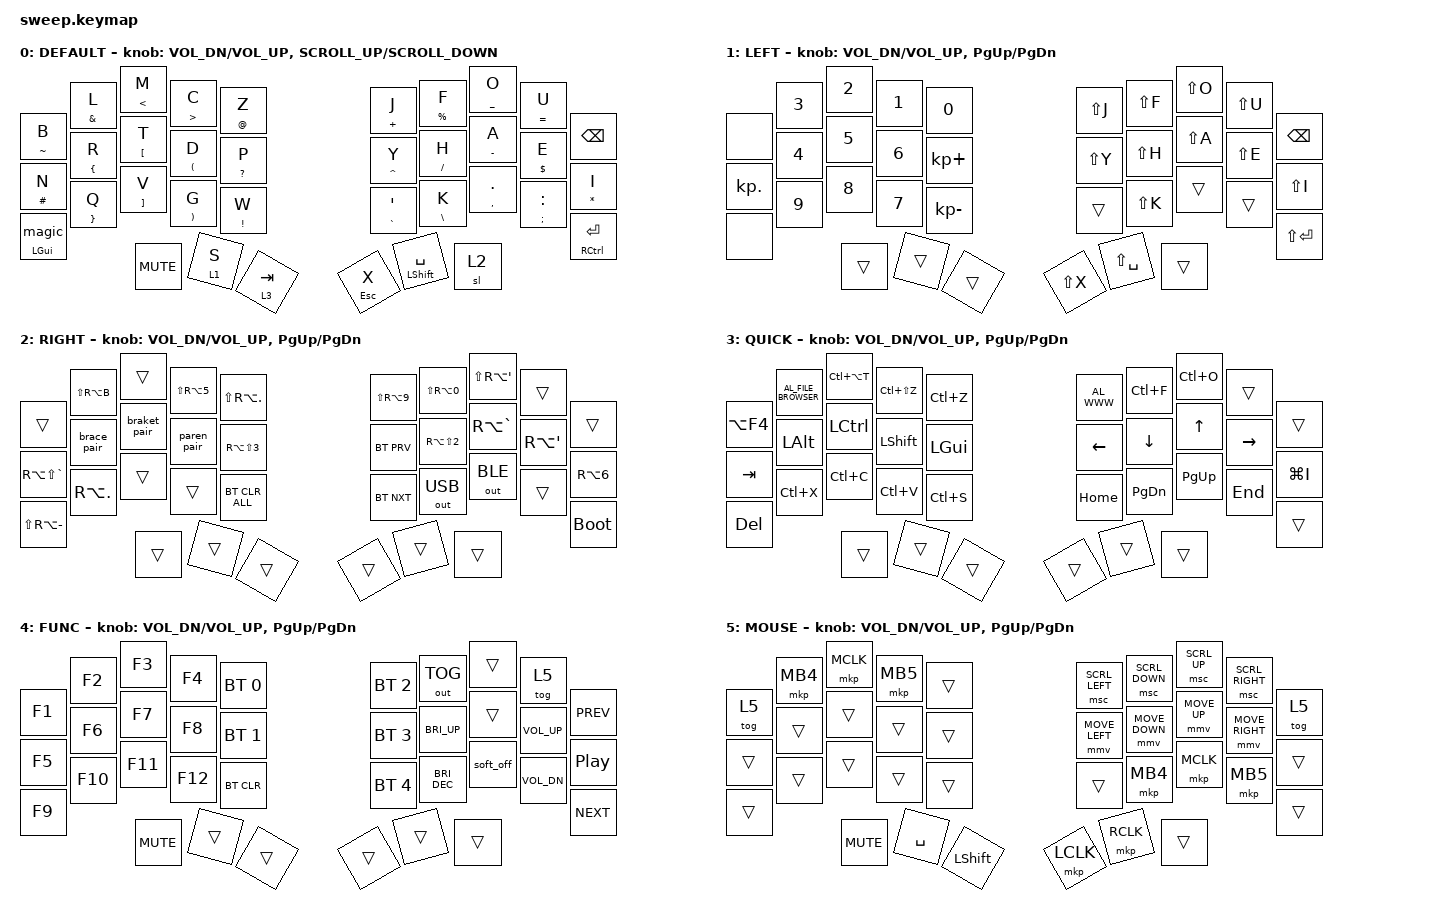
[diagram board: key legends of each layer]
// Copyright (c) 2022 The ZMK Contributors
// SPDX-License-Identifier: MIT
// #include <dt-bindings/zmk/rgb.h>

#define ZMK_POINTING_DEFAULT_MOVE_VAL 2500// 600
#define ZMK_POINTING_DEFAULT_SCRL_VAL 20// 10

#include <behaviors.dtsi>
#include <dt-bindings/zmk/bt.h>
#include <dt-bindings/zmk/keys.h>
#include <dt-bindings/zmk/outputs.h>
#include <dt-bindings/zmk/pointing.h>
#include "behaviors/character_map.dtsi"
#include "behaviors/report.dtsi"

&sensors { triggers-per-rotation = <15>; };

&lt {
    tapping-term-ms = <180>;
    quick-tap-ms = <150>;
    require-prior-idle-ms = <100>;
};

/ {
    behaviors {
        ht: hold_tap {
            label = "hold_tap";
            compatible = "zmk,behavior-hold-tap";
            #binding-cells = <2>;
            flavor = "tap-preferred";
            tapping-term-ms = <200>;
            quick-tap-ms = <150>;
            global-quick-tap;
            bindings = <&kp>, <&kp>;

            require-prior-idle-ms = <120>;
        };

        dot_comma: dot_comma {
            compatible = "zmk,behavior-mod-morph";
            label = "DOT_COMMA";
            bindings = <&kp DOT>, <&kp COMMA>;

            #binding-cells = <0>;
            mods = <(MOD_LSFT|MOD_RSFT)>;
        };

        dot_dance: dot_dance {
            compatible = "zmk,behavior-tap-dance";
            label = "DOT_DANCE";
            #binding-cells = <0>;
            bindings = <&dot_comma>, <&kp COMMA>;

            tapping-term-ms = <150>;
        };

        pt_brace: pt_brace {
            compatible = "zmk,behavior-hold-tap";
            label = "PT_BRACE";
            bindings = <&brace_pair>, <&kp>;

            #binding-cells = <2>;
            tapping-term-ms = <200>;
            flavor = "balanced";
            require-prior-idle-ms = <100>;
        };

        pt_bracket: pt_bracket {
            compatible = "zmk,behavior-hold-tap";
            label = "PT_BRACKET";
            bindings = <&braket_pair>, <&kp>;

            #binding-cells = <2>;
            tapping-term-ms = <200>;
            flavor = "balanced";
            require-prior-idle-ms = <100>;
        };

        pt_paren: pt_paren {
            compatible = "zmk,behavior-hold-tap";
            label = "PT_PAREN";
            bindings = <&paren_pair>, <&kp>;

            #binding-cells = <2>;
            tapping-term-ms = <200>;
            flavor = "balanced";
            require-prior-idle-ms = <100>;
        };

        mmv {
            acceleration-exponent = <1>;// 1
            time-to-max-speed-ms = <300>;// 40
            delay-ms = <0>;// 0
        };

        msc {
            acceleration-exponent = <0>;// 0
            time-to-max-speed-ms = <40>;// 500
            delay-ms = <0>;// 10
        };

        magic: magic {
            compatible = "zmk,behavior-adaptive-key";
            #binding-cells = <0>;
            bindings = <&key_repeat>;

            magic_oa {
                trigger-keys = <O>;
                bindings = <&kp A>;
            };

            magic_ao {
                trigger-keys = <A>;
                bindings = <&kp O>;
            };

            magic_ue {
                trigger-keys = <U>;
                bindings = <&kp E>;
            };

            magic_eu {
                trigger-keys = <E>;
                bindings = <&kp U>;
            };

            magic_hy {
                trigger-keys = <H>;
                bindings = <&kp Y>;
            };

            magic_fy {
                trigger-keys = <F>;
                bindings = <&kp Y>;
            };

            magic_ky {
                trigger-keys = <K>;
                bindings = <&kp Y>;
            };

            magic_dg {
                trigger-keys = <D>;
                bindings = <&kp G>;
            };

            magic_lr {
                trigger-keys = <L>;
                bindings = <&kp R>;
            };

            magic_rl {
                trigger-keys = <R>;
                bindings = <&kp L>;
            };

            magic_qu {
                trigger-keys = <Q>;
                bindings = <&kp U>;
            };
        };

        hm: hold_magic {
            compatible = "zmk,behavior-hold-tap";
            label = "HOLD_MAGIC";
            #binding-cells = <2>;
            flavor = "hold-preferred";
            tapping-term-ms = <200>;
            quick-tap-ms = <150>;
            global-quick-tap;
            bindings = <&kp>, <&magic>;

            require-prior-idle-ms = <120>;
        };
    };

    conditional_layers {
        compatible = "zmk,conditional-layers";

        tri_layer {
            if-layers = <2 3>;
            then-layer = <4>;
        };
    };

    macros {
        brace_pair: brace_pair {
            compatible = "zmk,behavior-macro";
            #binding-cells = <0>;
            bindings = <&kp LEFT_BRACE &kp RIGHT_BRACE &kp LEFT>;
            label = "BRACE_PAIR";
        };

        paren_pair: paren_pair {
            compatible = "zmk,behavior-macro";
            #binding-cells = <0>;
            bindings = <&kp LPAR &kp RPAR &kp LEFT>;
            label = "PAREN_PAIR";
        };

        braket_pair: braket_pair {
            compatible = "zmk,behavior-macro";
            #binding-cells = <0>;
            bindings = <&kp LBKT &kp RBKT &kp LEFT>;
            label = "BRAKET_PAIR";
        };
    };

    combos {
        compatible = "zmk,combos";

        pipe {
            bindings = <&kp PIPE>;
            key-positions = <3 2>;
        };
    };

    keymap {
        compatible = "zmk,keymap";

        default_layer {
            display-name = "DEFAULT";
            bindings = <
&ht TILDE B     &ht AMPS L  &ht LT M    &ht GT C    &ht AT Z       &ht PLUS J      &ht PRCNT F           &ht UNDER O    &ht EQUAL U     &kp BSPC
&ht POUND N     &ht LBRC R  &ht LBKT T  &ht LPAR D  &ht QMARK P    &ht CARET Y     &ht FSLH H            &ht MINUS A    &ht DLLR E      &ht ASTRK I
&hm LEFT_GUI 0  &ht RBRC Q  &ht RBKT V  &ht RPAR G  &ht EXCL W     &ht GRAVE APOS  &ht BSLH K            &ht COMMA DOT  &ht SEMI COLON  &mt RCTRL ENTER
                            &kp C_MUTE  &lt 1 S     &lt 3 TAB      &ht ESC X       &mt LEFT_SHIFT SPACE  &sl 2
            >;

            sensor-bindings = <&inc_dec_kp C_VOL_DN C_VOL_UP &inc_dec_kp K_SCROLL_UP K_SCROLL_DOWN>;
        };

        left_layer {
            display-name = "LEFT";
            bindings = <
&none       &kp N3  &kp N2  &kp N1  &kp N0          &kp LS(J)  &kp LS(F)      &kp LS(O)  &kp LS(U)  &kp BSPC
&kp KP_DOT  &kp N4  &kp N5  &kp N6  &kp KP_PLUS     &kp LS(Y)  &kp LS(H)      &kp LS(A)  &kp LS(E)  &kp LS(I)
&none       &kp N9  &kp N8  &kp N7  &kp KP_MINUS    &trans     &kp LS(K)      &trans     &trans     &kp LS(ENTER)
                    &trans  &trans  &trans          &kp LS(X)  &kp LS(SPACE)  &trans
            >;

            sensor-bindings = <&inc_dec_kp C_VOL_DN C_VOL_UP &inc_dec_kp PG_UP PG_DN>;
        };

        right_layer {
            display-name = "RIGHT";
            bindings = <
&trans             &kp LS(RA(B))  &trans        &kp LS(RA(N5))  &kp LS(RA(DOT))    &kp LS(RA(N9))  &kp LS(RA(N0))  &kp LS(RA(APOS))  &trans        &trans
&kp RA(LS(GRAVE))  &brace_pair    &braket_pair  &paren_pair     &kp RA(LS(N3))     &bt BT_PRV      &kp RA(LS(N2))  &kp RA(GRAVE)     &kp RA(APOS)  &kp RA(N6)
&kp LS(RA(MINUS))  &kp RA(DOT)    &trans        &trans          &bt BT_CLR_ALL     &bt BT_NXT      &out OUT_USB    &out OUT_BLE      &trans        &bootloader
                                  &trans        &trans          &trans             &trans          &trans          &trans
            >;

            sensor-bindings = <&inc_dec_kp C_VOL_DN C_VOL_UP &inc_dec_kp PG_UP PG_DN>;
        };

        quick_layer {
            display-name = "QUICK";
            bindings = <
&kp LA(F4)  &kp C_AL_FILE_BROWSER  &kp LC(LA(T))     &kp LC(LS(Z))   &kp LC(Z)       &kp C_AL_WWW  &kp LC(F)  &kp LC(O)  &trans     &trans
&kp TAB     &kp LEFT_ALT           &kp LEFT_CONTROL  &kp LEFT_SHIFT  &kp LEFT_GUI    &kp LEFT      &kp DOWN   &kp UP     &kp RIGHT  &kp LG(I)
&kp DEL     &kp LC(X)              &kp LC(C)         &kp LC(V)       &kp LC(S)       &kp HOME      &kp PG_DN  &kp PG_UP  &kp END    &trans
                                   &trans            &trans          &trans          &trans        &trans     &trans
            >;

            sensor-bindings = <&inc_dec_kp C_VOL_DN C_VOL_UP &inc_dec_kp PG_UP PG_DN>;
        };

        tri_layer {
            display-name = "FUNC";
            bindings = <
&kp F1  &kp F2   &kp F3      &kp F4   &bt BT_SEL 0    &bt BT_SEL 2  &out OUT_TOG   &trans     &tog 5        &kp C_PREV
&kp F5  &kp F6   &kp F7      &kp F8   &bt BT_SEL 1    &bt BT_SEL 3  &kp C_BRI_UP   &trans     &kp C_VOL_UP  &kp C_PP
&kp F9  &kp F10  &kp F11     &kp F12  &bt BT_CLR      &bt BT_SEL 4  &kp C_BRI_DEC  &soft_off  &kp C_VOL_DN  &kp C_NEXT
                 &kp C_MUTE  &trans   &trans          &trans        &trans         &trans
            >;

            sensor-bindings = <&inc_dec_kp C_VOL_DN C_VOL_UP &inc_dec_kp PG_UP PG_DN>;
        };

        mouse {
            display-name = "MOUSE";
            bindings = <
&tog 5  &mkp MB4  &mkp MCLK   &mkp MB5   &trans        &msc SCRL_LEFT  &msc SCRL_DOWN  &msc SCRL_UP  &msc SCRL_RIGHT  &tog 5
&trans  &trans    &trans      &trans     &trans        &mmv MOVE_LEFT  &mmv MOVE_DOWN  &mmv MOVE_UP  &mmv MOVE_RIGHT  &trans
&trans  &trans    &trans      &trans     &trans        &trans          &mkp MB4        &mkp MCLK     &mkp MB5         &trans
                  &kp C_MUTE  &kp SPACE  &kp LSHIFT    &mkp LCLK       &mkp RCLK       &trans
            >;

            sensor-bindings = <&inc_dec_kp C_VOL_DN C_VOL_UP &inc_dec_kp PG_UP PG_DN>;
        };
    };
};
